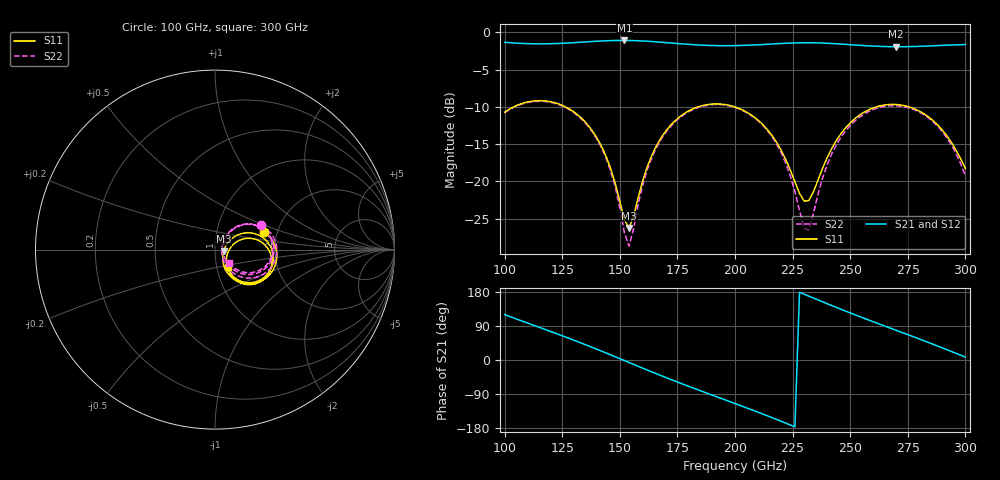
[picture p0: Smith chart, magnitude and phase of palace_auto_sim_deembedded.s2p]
! Created with skrf 1.11.0 (http://scikit-rf.org).
# GHz S DB R 50.0
!freq dBS11 angS11 dBS21 angS21 dBS12 angS12 dBS22 angS22
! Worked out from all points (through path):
!   101 points, 100 GHz to 300 GHz, reference 50 ohm
!   highest |S21| = -1.10 dB at 152 GHz (marker M1); lowest = -1.9 dB at 270 GHz (marker M2)
!   group delay of S21, straight-line fit = 6.59 ps
!   lowest |S11| = -26.2 dB at 154 GHz (marker M3), VSWR 1.10, Z = 55 - j1.02 ohm
!   |S11| at or under -10 dB: 126.4 GHz to 184 GHz (57.53 GHz wide, 37.1 % of centre); 199.8 GHz to 261.4 GHz (61.54 GHz wide, 26.7 % of centre); 275.5 GHz to end of sweep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
!   |S22| runs from -28.7 to -9.3 dB; largest |S21 - S12| = 9.7e-14
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100  -10.73 19.7  -1.35 119.9  -1.35 119.9  -10.80 27.9
118  -9.22 -16.1  -1.55 79.6  -1.55 79.6  -9.30 -7.1
134  -11.71 -47.4  -1.32 43.0  -1.32 43.0  -11.83 -38.3
144  -16.61 -61.9  -1.15 18.6  -1.15 18.6  -16.84 -54.2
152  -25.16 -38.3  -1.10 -1.5  -1.10 -1.5  -26.86 -33.5
154  -26.23 -11.0  -1.11 -6.6  -1.11 -6.6  -28.67 1.6
162  -17.96 33.7  -1.21 -26.6  -1.21 -26.6  -18.36 51.5
168  -14.11 28.4  -1.34 -41.4  -1.34 -41.4  -14.32 44.7
184  -9.99 0.2  -1.70 -78.9  -1.70 -78.9  -10.09 15.6
200  -10.01 -29.0  -1.79 -114.9  -1.79 -114.9  -10.07 -14.3
218  -14.72 -55.6  -1.54 -156.7  -1.54 -156.7  -14.95 -44.8
224  -18.46 -54.7  -1.46 -171.4  -1.46 -171.4  -19.25 -48.2
230  -22.64 -25.7  -1.41 173.6  -1.41 173.6  -26.25 -16.7
232  -22.57 -8.4  -1.41 168.6  -1.41 168.6  -26.51 12.7
234  -21.43 5.9  -1.42 163.6  -1.42 163.6  -24.34 34.8
240  -16.81 20.9  -1.48 148.6  -1.48 148.6  -17.76 49.2
246  -13.59 17.4  -1.59 133.9  -1.59 133.9  -14.07 43.1
256  -10.72 2.2  -1.79 110.2  -1.79 110.2  -10.97 25.6
268  -9.67 -19.0  -1.94 82.8  -1.94 82.8  -9.84 2.9
270  -9.69 -22.6  -1.94 78.2  -1.94 78.2  -9.85 -0.9
288  -12.43 -51.8  -1.79 36.7  -1.79 36.7  -12.61 -33.4
300  -18.28 -53.5  -1.65 7.7  -1.65 7.7  -19.28 -42.8
